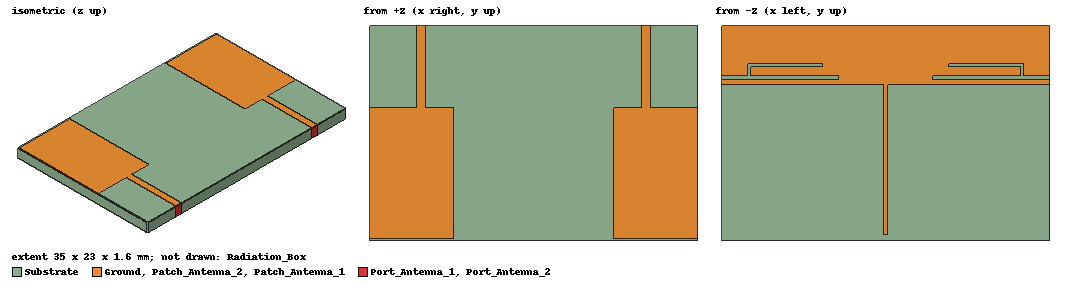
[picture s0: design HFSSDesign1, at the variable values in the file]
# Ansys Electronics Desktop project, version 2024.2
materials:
  vacuum: permittivity=1
  FR4_epoxy: permittivity=4.4 dielectric_loss_tangent=0.02

design HFSSDesign1 (HFSS, HFSS Terminal Network, model units mm)
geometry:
  Feed_Antenna_1 = rectangle(corner=(29mm, 0mm, 0mm), x_size=-1mm, y_size=-8.8mm)
  Feed_Antenna_2 = rectangle(corner=(5mm, 0mm, 0mm), x_size=1mm, y_size=-8.8mm)
  Patch_Antenna_2 = rectangle(corner=(9mm, -8.8mm, 0mm), x_size=-9mm, y_size=-14mm)
  Feed_Antenna_1.move(1mm, 0mm, 0mm)
  Patch_Antenna_1 = rectangle(corner=(26mm, -8.8mm, 0mm), x_size=9mm, y_size=-14mm)
  Patch_Antenna_1.unite(Feed_Antenna_1)
  Patch_Antenna_2.unite(Feed_Antenna_2)
  Ground = polyline(z=-1.6mm, xy in mm: (0, 0) (0, -6.3) (17.25, -6.3) (17.25, -22.3) (17.75, -22.3) (17.75, -6.3) (35, -6.3) (35, 0) (0, 0), closed, covered)
  Rectangle6 = rectangle(corner=(35mm, -5.8mm, -1.6mm), x_size=-12.5mm, y_size=0.4mm)
  Rectangle8 = rectangle(corner=(32.2mm, -5.4mm, -1.6mm), x_size=-0.3mm, y_size=1mm)
  Rectangle9 = rectangle(corner=(32.2mm, -4.4mm, -1.6mm), x_size=-8mm, y_size=0.3mm)
  Rectangle11 = rectangle(corner=(0mm, -5.8mm, -1.6mm), x_size=12.5mm, y_size=0.4mm)
  Rectangle13 = rectangle(corner=(2.8mm, -5.4mm, -1.6mm), x_size=0.3mm, y_size=1mm)
  Rectangle14 = rectangle(corner=(2.8mm, -4.4mm, -1.6mm), x_size=8mm, y_size=0.3mm)
  Ground.subtract(Rectangle11, Rectangle13, Rectangle14, Rectangle6, Rectangle8, Rectangle9)
  Substrate [FR4_epoxy] = box(corner=(0mm, 0mm, 0mm), size=(35mm, -23mm, -1.6mm))
  Port_Antenna_1 = rectangle(corner=(30mm, 0mm, 0mm), z_size=-1.6mm, x_size=-1mm)
  Port_Antenna_2 = rectangle(corner=(6mm, 0mm, 0mm), z_size=-1.6mm, x_size=-1mm)
  Radiation_Box [vacuum] = box(corner=(-20mm, 20mm, -20mm), size=(75mm, -63mm, 40mm))
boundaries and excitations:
  PerfE1: Perfect E Objects=Patch_Antenna_1
  PerfE2: Perfect E Objects=Patch_Antenna_2
  PerfE3: Perfect E Objects=Ground
  Rad1: Radiation Faces=Radiation_Box.face(+z, +x, +y, -z, -y)
  Port_Antenna_1_T1: Terminal port=1 Edges=Patch_Antenna_1.edge(at (29.5, 0, 0)) TerminalResistance=50ohm
  Port_Antenna_2_T1: Terminal port=2 Edges=Patch_Antenna_2.edge(at (5.5, 0, 0)) TerminalResistance=50ohm
  1: Lumped Port Faces=Port_Antenna_1.face LumpedPortType=Terminal Impedance=50ohm
  2: Lumped Port Faces=Port_Antenna_2.face LumpedPortType=Terminal Impedance=50ohm
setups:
  Setup1: HfssDriven Frequency=7.5GHz MaxDeltaS=0.02 MaximumPasses=20 MinimumPasses=1 MinimumConvergedPasses=1 PercentRefinement=30 BasisOrder=1 PortAccuracy=2 DrivenSolverType="Direct Solver"
    sweep Sweep: 0.1GHz to 15GHz, 401 points; Type=Fast SaveFields
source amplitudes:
  1:1: 1V 0deg
  2:1: 0V 0deg
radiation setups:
  Infinite Sphere1: Infinite Sphere Theta=0deg..360deg step 10deg Phi=0deg..360deg step 10deg
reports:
  rE Plot 1: dB(rETotal) vs Theta on Setup1 : LastAdaptive, Infinite Sphere1 [Phi=all Freq=7.5GHz]
  rE Plot 2: dB(rETotal) vs Theta on Setup1 : Sweep, Infinite Sphere1 [Phi=all Freq=0.1GHz]
  rE Plot 3: dB(rETotal) vs Theta on Setup1 : Sweep, Infinite Sphere1 [Phi=90deg Freq=7.51275GHz]
